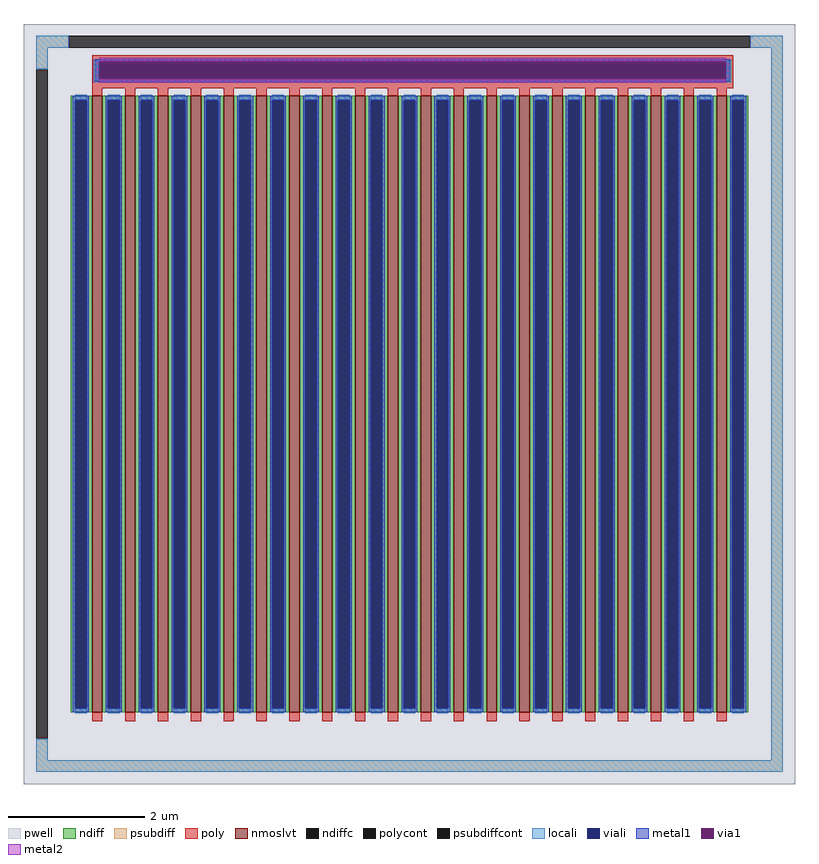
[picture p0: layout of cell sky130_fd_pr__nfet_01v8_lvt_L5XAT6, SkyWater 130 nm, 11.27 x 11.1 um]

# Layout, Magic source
magic
tech sky130A
magscale 1 2
<< pwell >>
rect -1127 -1110 1127 1110
<< nmoslvt >>
rect -927 -900 -897 900
rect -831 -900 -801 900
rect -735 -900 -705 900
rect -639 -900 -609 900
rect -543 -900 -513 900
rect -447 -900 -417 900
rect -351 -900 -321 900
rect -255 -900 -225 900
rect -159 -900 -129 900
rect -63 -900 -33 900
rect 33 -900 63 900
rect 129 -900 159 900
rect 225 -900 255 900
rect 321 -900 351 900
rect 417 -900 447 900
rect 513 -900 543 900
rect 609 -900 639 900
rect 705 -900 735 900
rect 801 -900 831 900
rect 897 -900 927 900
<< ndiff >>
rect -989 888 -927 900
rect -989 -888 -977 888
rect -943 -888 -927 888
rect -989 -900 -927 -888
rect -897 888 -831 900
rect -897 -888 -881 888
rect -847 -888 -831 888
rect -897 -900 -831 -888
rect -801 888 -735 900
rect -801 -888 -785 888
rect -751 -888 -735 888
rect -801 -900 -735 -888
rect -705 888 -639 900
rect -705 -888 -689 888
rect -655 -888 -639 888
rect -705 -900 -639 -888
rect -609 888 -543 900
rect -609 -888 -593 888
rect -559 -888 -543 888
rect -609 -900 -543 -888
rect -513 888 -447 900
rect -513 -888 -497 888
rect -463 -888 -447 888
rect -513 -900 -447 -888
rect -417 888 -351 900
rect -417 -888 -401 888
rect -367 -888 -351 888
rect -417 -900 -351 -888
rect -321 888 -255 900
rect -321 -888 -305 888
rect -271 -888 -255 888
rect -321 -900 -255 -888
rect -225 888 -159 900
rect -225 -888 -209 888
rect -175 -888 -159 888
rect -225 -900 -159 -888
rect -129 888 -63 900
rect -129 -888 -113 888
rect -79 -888 -63 888
rect -129 -900 -63 -888
rect -33 888 33 900
rect -33 -888 -17 888
rect 17 -888 33 888
rect -33 -900 33 -888
rect 63 888 129 900
rect 63 -888 79 888
rect 113 -888 129 888
rect 63 -900 129 -888
rect 159 888 225 900
rect 159 -888 175 888
rect 209 -888 225 888
rect 159 -900 225 -888
rect 255 888 321 900
rect 255 -888 271 888
rect 305 -888 321 888
rect 255 -900 321 -888
rect 351 888 417 900
rect 351 -888 367 888
rect 401 -888 417 888
rect 351 -900 417 -888
rect 447 888 513 900
rect 447 -888 463 888
rect 497 -888 513 888
rect 447 -900 513 -888
rect 543 888 609 900
rect 543 -888 559 888
rect 593 -888 609 888
rect 543 -900 609 -888
rect 639 888 705 900
rect 639 -888 655 888
rect 689 -888 705 888
rect 639 -900 705 -888
rect 735 888 801 900
rect 735 -888 751 888
rect 785 -888 801 888
rect 735 -900 801 -888
rect 831 888 897 900
rect 831 -888 847 888
rect 881 -888 897 888
rect 831 -900 897 -888
rect 927 888 989 900
rect 927 -888 943 888
rect 977 -888 989 888
rect 927 -900 989 -888
<< ndiffc >>
rect -977 -888 -943 888
rect -881 -888 -847 888
rect -785 -888 -751 888
rect -689 -888 -655 888
rect -593 -888 -559 888
rect -497 -888 -463 888
rect -401 -888 -367 888
rect -305 -888 -271 888
rect -209 -888 -175 888
rect -113 -888 -79 888
rect -17 -888 17 888
rect 79 -888 113 888
rect 175 -888 209 888
rect 271 -888 305 888
rect 367 -888 401 888
rect 463 -888 497 888
rect 559 -888 593 888
rect 655 -888 689 888
rect 751 -888 785 888
rect 847 -888 881 888
rect 943 -888 977 888
<< psubdiff >>
rect -1091 1041 -995 1075
rect 995 1041 1091 1075
rect -1091 978 -1057 1041
rect -1091 -1040 -1057 -978
rect 1057 -1040 1091 1041
rect -1091 -1074 1091 -1040
<< psubdiffcont >>
rect -995 1041 995 1075
rect -1091 -978 -1057 978
<< poly >>
rect -927 990 945 1019
rect -927 956 -906 990
rect 924 956 945 990
rect -927 922 945 956
rect -927 900 -897 922
rect -831 900 -801 922
rect -735 900 -705 922
rect -639 900 -609 922
rect -543 900 -513 922
rect -447 900 -417 922
rect -351 900 -321 922
rect -255 900 -225 922
rect -159 900 -129 922
rect -63 900 -33 922
rect 33 900 63 922
rect 129 900 159 922
rect 225 900 255 922
rect 321 900 351 922
rect 417 900 447 922
rect 513 900 543 922
rect 609 900 639 922
rect 705 900 735 922
rect 801 900 831 922
rect 897 900 927 922
rect -927 -926 -897 -900
rect -831 -926 -801 -900
rect -735 -926 -705 -900
rect -639 -926 -609 -900
rect -543 -926 -513 -900
rect -447 -926 -417 -900
rect -351 -926 -321 -900
rect -255 -926 -225 -900
rect -159 -926 -129 -900
rect -63 -926 -33 -900
rect 33 -926 63 -900
rect 129 -926 159 -900
rect 225 -926 255 -900
rect 321 -926 351 -900
rect 417 -926 447 -900
rect 513 -926 543 -900
rect 609 -926 639 -900
rect 705 -926 735 -900
rect 801 -926 831 -900
rect 897 -926 927 -900
<< polycont >>
rect -906 956 924 990
<< locali >>
rect -1091 1041 -995 1075
rect 995 1041 1091 1075
rect -1091 978 -1057 1041
rect -922 1001 940 1006
rect -922 949 -906 1001
rect 924 949 940 1001
rect -922 940 940 949
rect -977 888 -943 904
rect -977 -904 -943 -888
rect -881 888 -847 904
rect -881 -904 -847 -888
rect -785 888 -751 904
rect -785 -904 -751 -888
rect -689 888 -655 904
rect -689 -904 -655 -888
rect -593 888 -559 904
rect -593 -904 -559 -888
rect -497 888 -463 904
rect -497 -904 -463 -888
rect -401 888 -367 904
rect -401 -904 -367 -888
rect -305 888 -271 904
rect -305 -904 -271 -888
rect -209 888 -175 904
rect -209 -904 -175 -888
rect -113 888 -79 904
rect -113 -904 -79 -888
rect -17 888 17 904
rect -17 -904 17 -888
rect 79 888 113 904
rect 79 -904 113 -888
rect 175 888 209 904
rect 175 -904 209 -888
rect 271 888 305 904
rect 271 -904 305 -888
rect 367 888 401 904
rect 367 -904 401 -888
rect 463 888 497 904
rect 463 -904 497 -888
rect 559 888 593 904
rect 559 -904 593 -888
rect 655 888 689 904
rect 655 -904 689 -888
rect 751 888 785 904
rect 751 -904 785 -888
rect 847 888 881 904
rect 847 -904 881 -888
rect 943 888 977 904
rect 943 -904 977 -888
rect -1091 -1040 -1057 -978
rect 1057 -1040 1091 1041
rect -1091 -1074 1091 -1040
<< viali >>
rect -906 990 924 1001
rect -906 956 924 990
rect -906 949 924 956
rect -977 -888 -943 888
rect -881 -888 -847 888
rect -785 -888 -751 888
rect -689 -888 -655 888
rect -593 -888 -559 888
rect -497 -888 -463 888
rect -401 -888 -367 888
rect -305 -888 -271 888
rect -209 -888 -175 888
rect -113 -888 -79 888
rect -17 -888 17 888
rect 79 -888 113 888
rect 175 -888 209 888
rect 271 -888 305 888
rect 367 -888 401 888
rect 463 -888 497 888
rect 559 -888 593 888
rect 655 -888 689 888
rect 751 -888 785 888
rect 847 -888 881 888
rect 943 -888 977 888
<< metal1 >>
rect -918 1001 936 1007
rect -918 949 -906 1001
rect 924 949 936 1001
rect -918 943 936 949
rect -983 888 -937 900
rect -983 -888 -977 888
rect -943 -888 -937 888
rect -983 -900 -937 -888
rect -887 888 -841 900
rect -887 -888 -881 888
rect -847 -888 -841 888
rect -887 -900 -841 -888
rect -791 888 -745 900
rect -791 -888 -785 888
rect -751 -888 -745 888
rect -791 -900 -745 -888
rect -695 888 -649 900
rect -695 -888 -689 888
rect -655 -888 -649 888
rect -695 -900 -649 -888
rect -599 888 -553 900
rect -599 -888 -593 888
rect -559 -888 -553 888
rect -599 -900 -553 -888
rect -503 888 -457 900
rect -503 -888 -497 888
rect -463 -888 -457 888
rect -503 -900 -457 -888
rect -407 888 -361 900
rect -407 -888 -401 888
rect -367 -888 -361 888
rect -407 -900 -361 -888
rect -311 888 -265 900
rect -311 -888 -305 888
rect -271 -888 -265 888
rect -311 -900 -265 -888
rect -215 888 -169 900
rect -215 -888 -209 888
rect -175 -888 -169 888
rect -215 -900 -169 -888
rect -119 888 -73 900
rect -119 -888 -113 888
rect -79 -888 -73 888
rect -119 -900 -73 -888
rect -23 888 23 900
rect -23 -888 -17 888
rect 17 -888 23 888
rect -23 -900 23 -888
rect 73 888 119 900
rect 73 -888 79 888
rect 113 -888 119 888
rect 73 -900 119 -888
rect 169 888 215 900
rect 169 -888 175 888
rect 209 -888 215 888
rect 169 -900 215 -888
rect 265 888 311 900
rect 265 -888 271 888
rect 305 -888 311 888
rect 265 -900 311 -888
rect 361 888 407 900
rect 361 -888 367 888
rect 401 -888 407 888
rect 361 -900 407 -888
rect 457 888 503 900
rect 457 -888 463 888
rect 497 -888 503 888
rect 457 -900 503 -888
rect 553 888 599 900
rect 553 -888 559 888
rect 593 -888 599 888
rect 553 -900 599 -888
rect 649 888 695 900
rect 649 -888 655 888
rect 689 -888 695 888
rect 649 -900 695 -888
rect 745 888 791 900
rect 745 -888 751 888
rect 785 -888 791 888
rect 745 -900 791 -888
rect 841 888 887 900
rect 841 -888 847 888
rect 881 -888 887 888
rect 841 -900 887 -888
rect 937 888 983 900
rect 937 -888 943 888
rect 977 -888 983 888
rect 937 -900 983 -888
<< via1 >>
rect -906 949 924 1001
<< metal2 >>
rect -906 1001 924 1011
rect -906 939 924 949
<< properties >>
string gencell sky130_fd_pr__nfet_01v8_lvt
string FIXED_BBOX -1074 -1057 1074 1057
string parameters w 9 l 0.150 m 1 nf 20 diffcov 100 polycov 100 guard 1 glc 1 grc 0 gtc 1 gbc 0 tbcov 100 rlcov 100 topc 1 botc 0 poverlap 1 doverlap 1 lmin 0.15 wmin 0.42 compatible {sky130_fd_pr__nfet_01v8 sky130_fd_pr__nfet_01v8_lvt  sky130_fd_bs_flash__special_sonosfet_star  sky130_fd_pr__nfet_g5v0d10v5 sky130_fd_pr__nfet_05v0_nvt  sky130_fd_pr__nfet_03v3_nvt} full_metal 1 viasrc 100 viadrn 100 viagate 100 viagb 0 viagr 0 viagl 0 viagt 0
string library sky130
<< end >>
